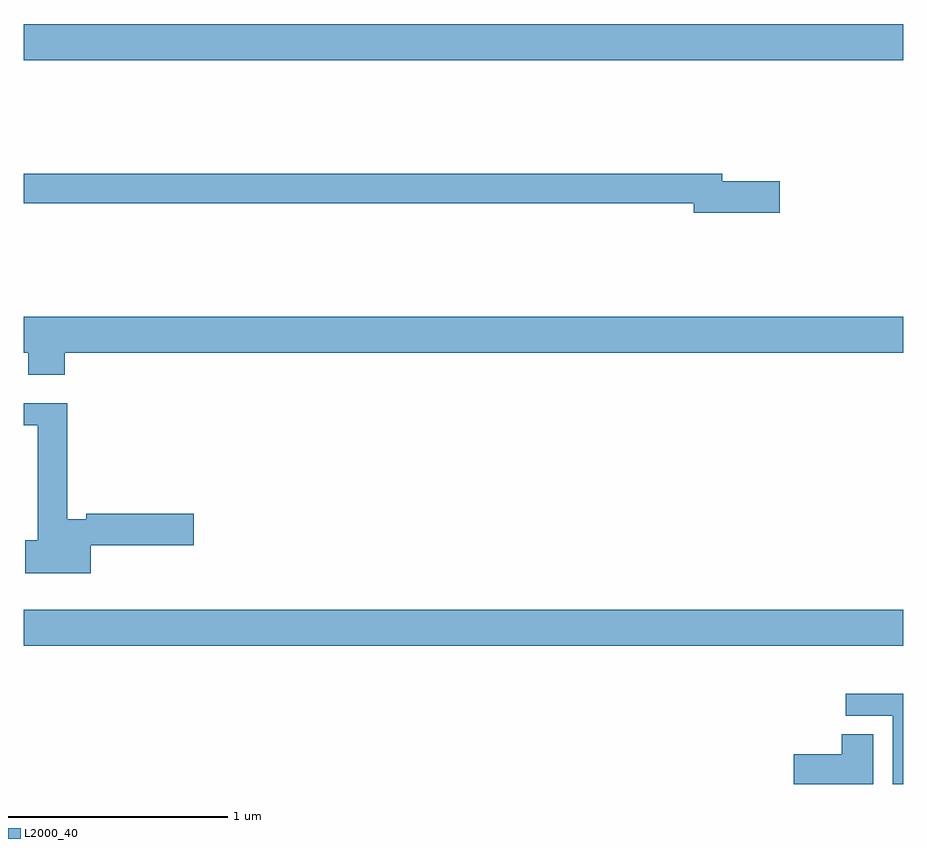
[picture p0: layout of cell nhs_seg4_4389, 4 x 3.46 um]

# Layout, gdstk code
import gdstk
lib = gdstk.Library(unit=1e-6, precision=1e-09)
def R(c, l, rs):  # rectangles x0, y0, x1, y1
    for r in rs: c.add(gdstk.rectangle(r[:2], r[2:], *l))
def P(c, l, *ps):  # polygons
    for p in ps: c.add(gdstk.Polygon(p, *l))
L2000_40 = (2000, 40)

nhs_seg4_4389 = lib.new_cell('nhs_seg4_4389')
R(nhs_seg4_4389, L2000_40, [(347,755.528,351,755.692), (347,758.192,351,758.356)])
P(nhs_seg4_4389, L2000_40, [(350.437,757.64),(350.176,757.64),(350.176,757.676),(347,757.676),(347,757.54),(350.048,757.54),(350.048,757.498),(350.437,757.498)],
  [(347.186,756.86),(351,756.86),(351,757.024),(347,757.024),(347,756.86),(347.021,756.86),(347.021,756.761),(347.186,756.761)],
  [(347.305,755.986),(347.773,755.986),(347.773,756.128),(347.285,756.128),(347.285,756.103),(347.198,756.103),(347.198,756.631),(347,756.631),(347,756.532),(347.063,756.532),(347.063,756.008),(347.007,756.008),(347.007,755.858),(347.305,755.858)],
  [(351,755.31),(350.739,755.31),(350.739,755.211),(350.952,755.211),(350.952,754.9),(351,754.9)],
  [(350.863,755.126),(350.72,755.126),(350.72,755.036),(350.502,755.036),(350.502,754.9),(350.863,754.9)])

lib.write_gds('nhs_seg4_4389.gds')
